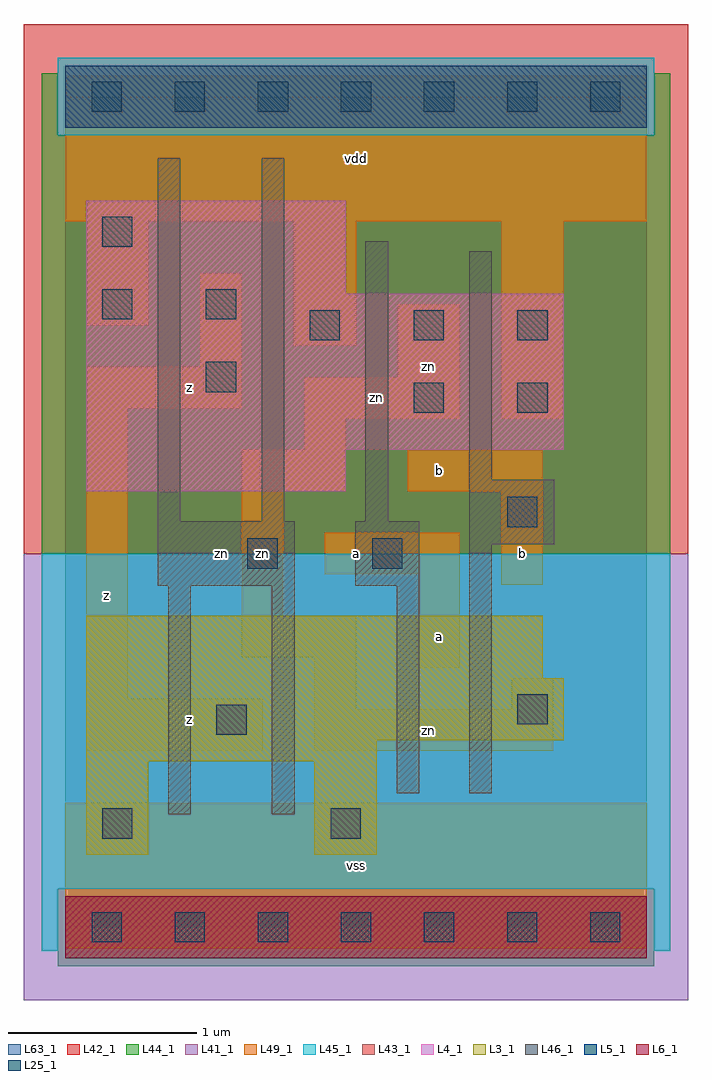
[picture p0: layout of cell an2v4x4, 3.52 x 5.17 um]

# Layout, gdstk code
import gdstk
lib = gdstk.Library(unit=1e-6, precision=1e-09)
def R(c, l, rs):  # rectangles x0, y0, x1, y1
    for r in rs: c.add(gdstk.rectangle(r[:2], r[2:], *l))
def A(c, l, x, y, w, h, nx, ny, dx, dy):  # array of equal rectangles
    R(c, l, [(x+i*dx, y+j*dy, x+i*dx+w, y+j*dy+h) for i in range(nx) for j in range(ny)])
L3_1 = (3, 1)
L4_1 = (4, 1)
L5_1 = (5, 1)
L6_1 = (6, 1)
L25_1 = (25, 1)
L41_1 = (41, 1)
L42_1 = (42, 1)
L43_1 = (43, 1)
L44_1 = (44, 1)
L45_1 = (45, 1)
L46_1 = (46, 1)
L49_1 = (49, 1)
L63_1 = (63, 1)

an2v4x4 = lib.new_cell('an2v4x4')
R(an2v4x4, L3_1, [(0.11,0.385,0.44,0.88), (1.32,0.385,1.65,0.88), (0.11,0.88,1.65,0.99), (0.11,0.99,2.64,1.32), (0.11,1.32,2.53,1.65)])
R(an2v4x4, L4_1, [(0.11,2.31,1.485,2.53), (0.11,2.53,2.64,3.355), (0.11,3.355,1.485,3.85)])
R(an2v4x4, L5_1, [(0,4.235,3.08,4.565)])
R(an2v4x4, L6_1, [(0,-0.165,3.08,0.165)])
A(an2v4x4, L25_1, 0.14, -0.08, 0.16, 0.16, 7, 2, 0.44, 4.4)
A(an2v4x4, L25_1, 1.295, 3.11, 0.16, 0.16, 3, 1, 0.55, 0)
R(an2v4x4, L25_1, [(0.195,0.47,0.355,0.63), (1.405,0.47,1.565,0.63), (0.8,1.02,0.96,1.18), (2.395,1.075,2.555,1.235), (0.965,1.9,1.125,2.06), (1.625,1.9,1.785,2.06), (2.34,2.12,2.5,2.28), (1.845,2.725,2.005,2.885), (2.395,2.725,2.555,2.885), (0.745,2.835,0.905,2.995), (0.195,3.22,0.355,3.38), (0.745,3.22,0.905,3.38), (0.195,3.605,0.355,3.765)])
R(an2v4x4, L41_1, [(-0.22,-0.385,3.3,1.98)])
R(an2v4x4, L42_1, [(-0.22,1.98,3.3,4.785)])
R(an2v4x4, L43_1, [(0,-0.165,3.08,0.165), (0.11,0.385,0.44,0.88), (1.32,0.385,1.65,0.88), (0.11,0.88,1.65,0.99), (0.11,0.99,2.64,1.32), (0.11,1.32,2.53,1.65), (0.11,2.31,1.485,2.53), (0.11,2.53,2.64,3.355), (0.11,3.355,1.485,3.85), (0,4.235,3.08,4.565)])
R(an2v4x4, L44_1, [(-0.04,-0.205,3.12,0.205), (-0.125,1.98,3.205,4.195), (-0.125,4.195,-0.04,4.525), (3.12,4.195,3.205,4.525)])
R(an2v4x4, L45_1, [(-0.125,-0.125,-0.04,0.205), (3.12,-0.125,3.205,0.205), (-0.125,0.205,3.205,1.98), (-0.04,4.195,3.12,4.605)])
R(an2v4x4, L46_1, [(0.545,0.6,0.665,1.81), (1.095,0.6,1.215,1.81), (1.755,0.71,1.875,1.81), (2.14,0.71,2.26,2.03), (0.49,1.81,1.215,2.15), (1.535,1.81,1.875,2.15), (2.14,2.03,2.59,2.37), (0.49,2.15,0.61,4.075), (1.04,2.15,1.16,4.075), (1.59,2.15,1.71,3.635), (2.14,2.37,2.26,3.58)])
R(an2v4x4, L49_1, [(0,-0.11,3.08,0.66), (0.11,0.935,1.045,1.21), (1.32,0.935,2.585,1.155), (1.32,1.155,1.54,1.43), (2.365,1.155,2.585,1.32), (0.11,1.21,0.33,2.75), (1.87,1.375,2.09,1.87), (0.935,1.43,1.54,1.65), (0.935,1.65,1.155,2.31), (2.31,1.815,2.53,2.31), (1.375,1.87,2.09,2.09), (0.935,2.31,1.485,2.53), (1.815,2.31,2.53,2.53), (1.265,2.53,1.485,2.695), (1.265,2.695,2.09,2.915), (2.31,2.695,2.64,3.74), (0.11,2.75,0.935,2.97), (1.76,2.915,2.09,3.3), (0.715,2.97,0.935,3.465), (1.21,3.08,1.54,3.74), (0.11,3.19,0.44,3.74), (0,3.74,3.08,4.51)])
R(an2v4x4, L63_1, [(0,0,3.08,4.4)])
an2v4x4.add(gdstk.Label('zn', (0.825,1.98), layer=46, texttype=1))
an2v4x4.add(gdstk.Label('z', (0.22,1.76), layer=49, texttype=1))
an2v4x4.add(gdstk.Label('z', (0.66,1.1), layer=49, texttype=1))
an2v4x4.add(gdstk.Label('zn', (1.045,1.98), layer=49, texttype=1))
an2v4x4.add(gdstk.Label('z', (0.66,2.86), layer=49, texttype=1))
an2v4x4.add(gdstk.Label('vss', (1.54,0.33), layer=49, texttype=1))
an2v4x4.add(gdstk.Label('a', (1.54,1.98), layer=49, texttype=1))
an2v4x4.add(gdstk.Label('a', (1.98,1.54), layer=49, texttype=1))
an2v4x4.add(gdstk.Label('b', (1.98,2.42), layer=49, texttype=1))
an2v4x4.add(gdstk.Label('zn', (1.65,2.805), layer=49, texttype=1))
an2v4x4.add(gdstk.Label('zn', (1.925,2.97), layer=49, texttype=1))
an2v4x4.add(gdstk.Label('vdd', (1.54,4.07), layer=49, texttype=1))
an2v4x4.add(gdstk.Label('zn', (1.925,1.045), layer=49, texttype=1))
an2v4x4.add(gdstk.Label('b', (2.42,1.98), layer=49, texttype=1))

lib.write_gds('an2v4x4.gds')
